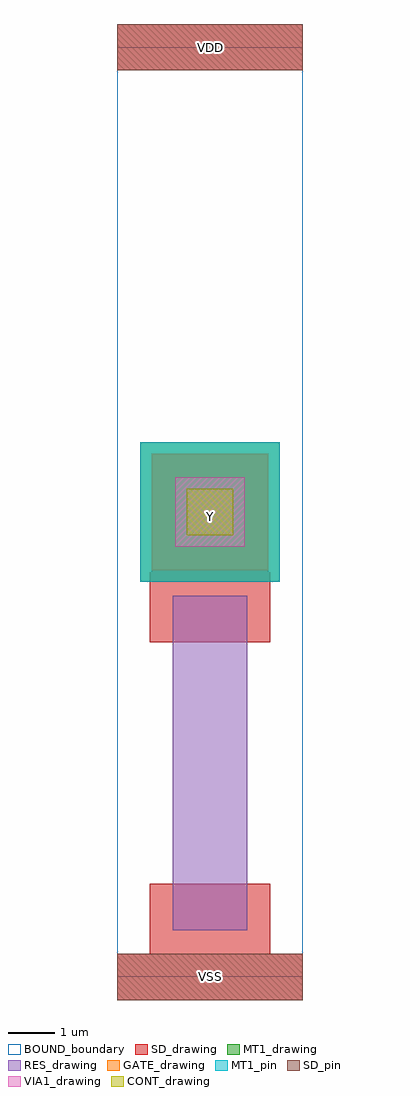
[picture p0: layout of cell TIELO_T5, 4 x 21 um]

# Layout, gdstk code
import gdstk
lib = gdstk.Library(unit=1e-6, precision=1e-09)
def R(c, l, rs):  # rectangles x0, y0, x1, y1
    for r in rs: c.add(gdstk.rectangle(r[:2], r[2:], *l))
RES_drawing = (1, 0)
SD_drawing = (10, 0)
SD_pin = (10, 3)
GATE_drawing = (11, 0)
MT1_drawing = (20, 0)
MT1_pin = (20, 3)
CONT_drawing = (30, 0)
VIA1_drawing = (41, 0)
BOUND_boundary = (150, 5)

res_cdns_772545151370 = lib.new_cell('res_CDNS_772545151370')
R(res_cdns_772545151370, RES_drawing, [(-0.8,-3.6,0.8,3.6)])
R(res_cdns_772545151370, SD_drawing, [(-1.3,-4.1,1.3,-2.6), (-1.3,2.6,1.3,4.1)])

gate_mt1_cdns_7725451513 = lib.new_cell('GATE_MT1_CDNS_772545151370')
R(gate_mt1_cdns_7725451513, GATE_drawing, [(-1.25,-1.25,1.25,1.25)])
R(gate_mt1_cdns_7725451513, MT1_drawing, [(-1.25,-1.25,1.25,1.25)])
R(gate_mt1_cdns_7725451513, VIA1_drawing, [(-0.75,-0.75,0.75,0.75)])

sd_gate_cdns_77254515137 = lib.new_cell('SD_GATE_CDNS_772545151371')
R(sd_gate_cdns_77254515137, SD_drawing, [(-1,-1,1,1)])
R(sd_gate_cdns_77254515137, GATE_drawing, [(-1,-1,1,1)])
R(sd_gate_cdns_77254515137, CONT_drawing, [(-0.5,-0.5,0.5,0.5)])

tielo_t5 = lib.new_cell('TIELO_T5')
R(tielo_t5, SD_drawing, [(0.75,7.2,3.25,11.25)])
R(tielo_t5, SD_pin, [(0,-0.5,4,0.5), (0,19.5,4,20.5)])
R(tielo_t5, MT1_drawing, [(0.5,8.5,3.5,11.5)])
R(tielo_t5, MT1_pin, [(0.5,8.5,3.5,11.5)])
R(tielo_t5, BOUND_boundary, [(0,0,4,20)])
tielo_t5.add(gdstk.FlexPath([(0,20),(4,20)], 1, ends="flush", simple_path=True, layer=10, datatype=0))  # SD_drawing
tielo_t5.add(gdstk.FlexPath([(0,0),(4,0)], 1, ends="flush", simple_path=True, layer=10, datatype=0))  # SD_drawing
tielo_t5.add(gdstk.Reference(res_cdns_772545151370, (2,4.6)))
tielo_t5.add(gdstk.Reference(gate_mt1_cdns_7725451513, (2,10)))
tielo_t5.add(gdstk.Reference(sd_gate_cdns_77254515137, (2,10)))
tielo_t5.add(gdstk.Label('Y', (2,9.9), layer=20, texttype=3))
tielo_t5.add(gdstk.Label('Y', (2,9.95), layer=20, texttype=3))
tielo_t5.add(gdstk.Label('Y', (2,10), layer=20, texttype=3))
tielo_t5.add(gdstk.Label('Y', (2.05,9.9), layer=20, texttype=3))
tielo_t5.add(gdstk.Label('VSS', (2,0), layer=10, texttype=3))
tielo_t5.add(gdstk.Label('VDD', (2,20), layer=10, texttype=3))

lib.write_gds('TIELO_T5.gds')
